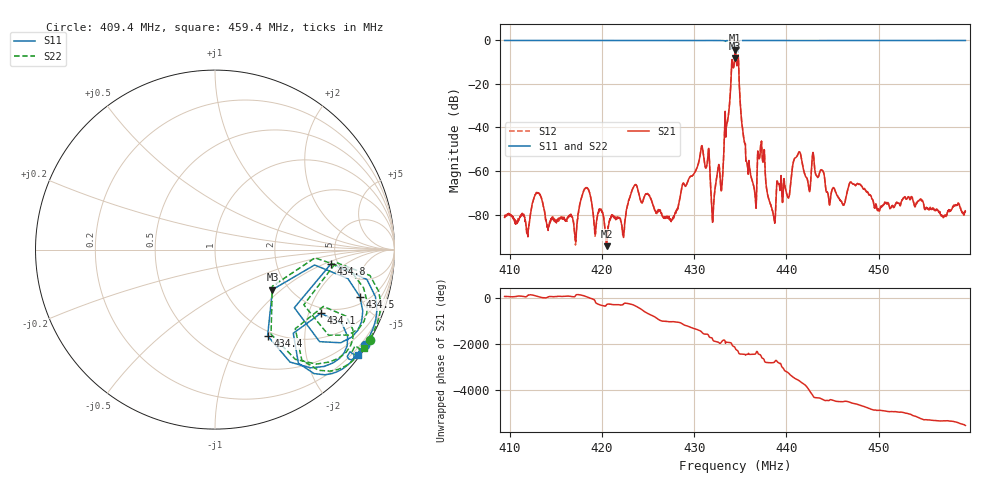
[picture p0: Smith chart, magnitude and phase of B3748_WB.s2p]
! Matrix data file written by TouchstoneData, EPCOS AG
! FILENAME: "LU52A_WB.s2p"
! COMMENT: "PINNING 1/4; PORTEX 1=93ps; 2=179.5ps;  2 Fe"
! INFO: nport=2, nfreq=1601
! DATE: "Thu Nov  5 11:06:27 2009"
! USER: "Aleksander Breg"
! port | pin | signal
!  1  |  1  |  input
!  2  |  4  |  output
# MHZ S MA R 50
! freq  magS11 angS11  magS21 angS21  magS12 angS12  magS22 angS22
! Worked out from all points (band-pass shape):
!   1601 points, 409.4 MHz to 459.4 MHz, reference 50 ohm
!   highest |S21| = -4.53 dB at 434.5 MHz (marker M1); lowest = -94.5 dB at 420.5 MHz (marker M2)
!   |S21| within 3 dB of the highest: 434.3888 MHz to 434.518 MHz (129.2 kHz wide, 0.0297 % of centre); 434.7517 MHz to 434.7771 MHz (25.31 kHz wide, 0.00582 % of centre)
!   lowest |S11| = -8.2 dB at 434.5 MHz (marker M3), VSWR 2.28, Z = 82.8 - j43.6 ohm
!   |S11| at or under -10 dB: nowhere
!   |S22| runs from -8.4 to 0.0 dB; largest |S21 - S12| = 0.0028
!   S11 on the Smith chart (normalised r, x): 409.4 MHz: 0.06, -3.42; 434.1 MHz: 1.79, -2.41; 434.4 MHz: 0.94, -1.32; 434.5 MHz: 2.61, -4.95; 434.8 MHz: 4.39, -1.20; 459.4 MHz: 0.05, -3.05
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409.42  0.9909 -32.6  8.629e-05 57.9  8.969e-05 54.9  0.9976 -30.2
417.7638  0.9899 -33.4  0.0002417 113.5  0.0002444 113.5  0.9973 -30.9
420.4825  0.99 -33.7  1.89e-05 55.3  2.154e-05 67.5  0.9975 -31.1
423.5763  0.989 -34.0  0.000482 18.4  0.0004815 18.5  0.9966 -31.5
426.1075  0.9893 -34.3  0.0001312 137.5  0.0001289 138.4  0.9968 -31.7
427.9513  0.9891 -34.7  0.0001101 34.2  0.0001153 34.5  0.9964 -32.1
430.795  0.983 -35.3  0.003755 -45.4  0.003761 -45.0  0.9904 -32.6
432.0763  0.9882 -36.1  0.0001311 -66.6  0.0001425 -68.8  0.9958 -33.4
433.0138  0.9855 -37.6  0.0004911 -85.4  0.0004874 -86.0  0.9933 -35.0
434.1075  0.6878 -31.1  0.3617 106.8  0.3626 107.0  0.6818 -27.7
434.42  0.5629 -58.6  0.5296 -4.6  0.5306 -4.6  0.5652 -56.5
434.4513  0.3902 -34.8  0.5938 -32.6  0.5941 -32.5  0.3792 -32.5
434.545  0.8496 -18.1  0.3489 -96.1  0.3498 -95.7  0.8547 -14.5
434.795  0.6513 -7.0  0.3769 133.4  0.377 133.7  0.6785 -6.1
435.6075  0.9887 -30.8  0.001693 50.0  0.00169 50.2  0.9954 -28.1
436.5138  0.9892 -32.7  0.0003823 65.4  0.0003807 66.2  0.9965 -30.0
437.1075  0.9887 -33.2  0.002131 54.2  0.002139 54.7  0.9961 -30.5
438.5763  0.9889 -33.9  9.478e-05 67.0  9.92e-05 67.6  0.996 -31.2
441.2013  0.9827 -34.5  0.002293 40.0  0.002302 40.6  0.9916 -31.8
442.7638  0.9828 -34.8  0.001571 137.4  0.001575 137.6  0.9892 -32.2
451.1075  0.9884 -35.5  0.0001673 90.6  0.0001712 91.3  0.9957 -32.7
459.42  0.9895 -36.3  0.0001207 -149.6  0.0001255 -148.1  0.9972 -33.5
